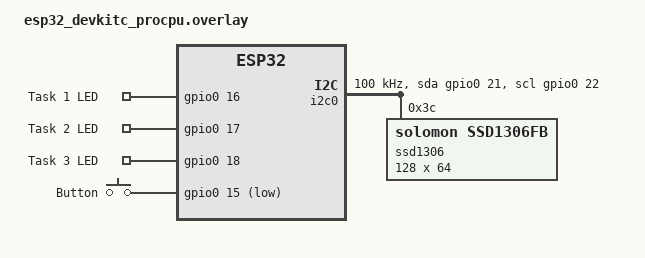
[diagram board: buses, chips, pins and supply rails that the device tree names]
/ {
    custom_gpio {
        compatible = "gpio-keys";

        task1_led: task1_led {
            gpios = <&gpio0 16 GPIO_ACTIVE_HIGH>;
            label = "Task 1 LED";
        };
        task2_led: task2_led {
            gpios = <&gpio0 17 GPIO_ACTIVE_HIGH>;
            label = "Task 2 LED";
        };
        task3_led: task3_led {
            gpios = <&gpio0 18 GPIO_ACTIVE_HIGH>;
            label = "Task 3 LED";
        };
        button: button {
            gpios = <&gpio0 15 (GPIO_ACTIVE_LOW | GPIO_PULL_UP)>;
            label = "Button";
        };
    };

    /* TODO (Part b): Configure a button input on PIN 15 */

    chosen {
        task1_led = &task1_led;
        task2_led = &task2_led;
        task3_led = &task3_led;
	// Uncomment after specifying *ssd1306* and *button*
        display = &ssd1306;
	    sw0 = &button;
    };
};

/* TODO: Configure I2C for the SSD1306 display. 
* You can reuse your solution from the previous exercise. */

&i2c0 {
    status = "okay";
    clock-frequency = <I2C_BITRATE_STANDARD>;
    sda-gpios = <&gpio0 21 GPIO_OPEN_DRAIN>;
    scl-gpios = <&gpio0 22 GPIO_OPEN_DRAIN>;
    pinctrl-0 = <&i2c0_default>;
    pinctrl-names = "default";

    ssd1306: ssd1306@3c {
        compatible = "solomon,ssd1306fb";
        reg = <0x3c>;
        width = <128>;
        height = <64>;
        segment-offset = <0>;
        page-offset = <0>;
        display-offset = <0>;
        segment-remap;
        com-invdir;
        multiplex-ratio = <63>;
        prechargep = <0x22>;
    };
};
